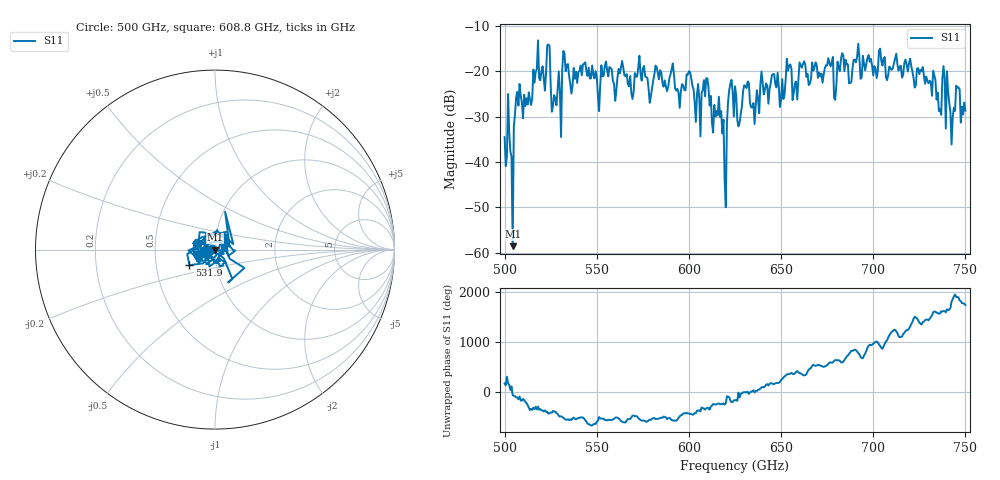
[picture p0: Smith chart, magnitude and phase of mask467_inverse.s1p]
!Created with skrf (http://scikit-rf.org).
# GHz S MA R 50.0
!freq magS11 angS11
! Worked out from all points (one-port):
!   401 points, 500 GHz to 750 GHz, reference 50 ohm
!   lowest |S11| = -58.6 dB at 504.4 GHz (marker M1), VSWR 1.00, Z = 50.1 - j0.0987 ohm
!   |S11| at or under -10 dB: start of sweep to end of sweep
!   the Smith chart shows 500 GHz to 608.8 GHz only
!   S11 on the Smith chart (normalised r, x): 500 GHz: 0.96, +0.00; 531.9 GHz: 0.74, -0.13; 608.8 GHz: 1.11, +0.03
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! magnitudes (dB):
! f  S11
! 500 GHz  -34.5
! 504.4 GHz  -58.6
! 506.9 GHz  -24.6
! 513.8 GHz  -26.3
! 516.9 GHz  -20.2
! 523.8 GHz  -14.1
! 526.9 GHz  -25.3
! 531.2 GHz  -19.8
! 531.9 GHz  -15.6
! 562.5 GHz  -20.5
! 579.4 GHz  -25.5
! 590.6 GHz  -19.6
! 593.8 GHz  -23.9
! 600 GHz  -20.0
! 605 GHz  -22.8
! 608.8 GHz  -25.6
! 617.5 GHz  -28.8
! 619.4 GHz  -43.9
! 622.5 GHz  -22.8
! 625 GHz  -23.3
! 656.2 GHz  -26.4
! 687.5 GHz  -22.6
! 718.8 GHz  -20.1
! 735.6 GHz  -28.8
! 738.8 GHz  -21.7
! 743.1 GHz  -30.1
! 745.6 GHz  -23.6
! 750 GHz  -28.7
